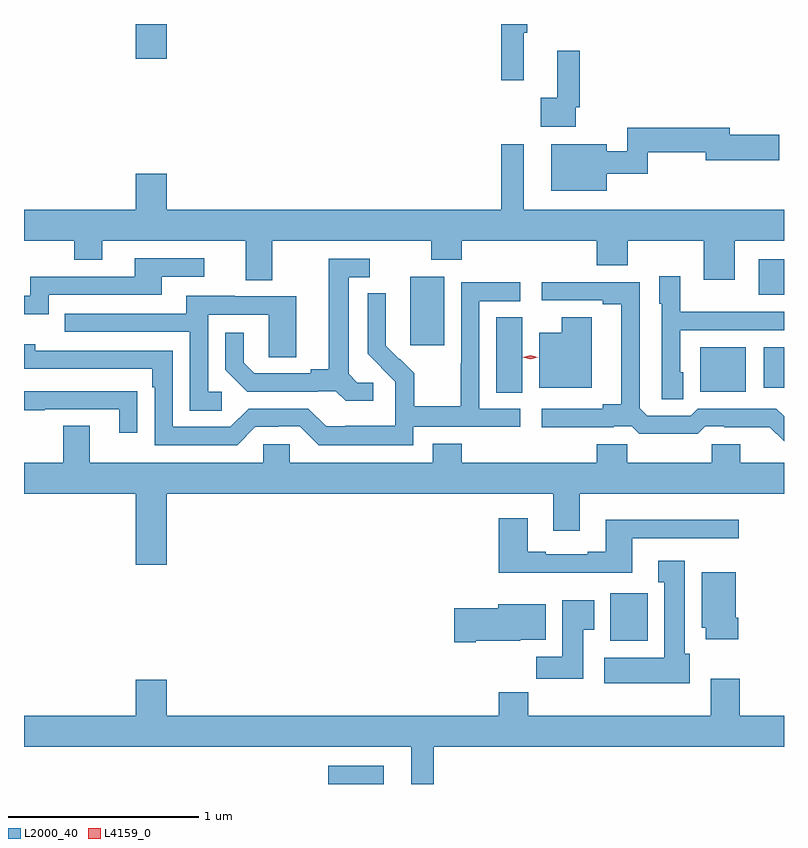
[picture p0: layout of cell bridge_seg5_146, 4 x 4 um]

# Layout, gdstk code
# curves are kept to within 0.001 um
import gdstk
lib = gdstk.Library(unit=1e-6, precision=1e-09)
def R(c, l, rs):  # rectangles x0, y0, x1, y1
    for r in rs: c.add(gdstk.rectangle(r[:2], r[2:], *l))
def P(c, l, *ps):  # polygons
    for p in ps: c.add(gdstk.Polygon(p, *l))
L2000_40 = (2000, 40)
L4159_0 = (4159, 0)

bridge_seg5_146 = lib.new_cell('bridge_seg5_146')
R(bridge_seg5_146, L2000_40, [(249.938,843.245,250.231,843.34), (251.423,843.998,251.619,844.249), (250.823,845.305,250.96,845.702), (251.897,845.309,252.136,845.545), (252.23,845.33,252.337,845.545), (250.37,845.553,250.549,845.914), (252.203,845.82,252.337,846.007), (248.924,847.062,249.088,847.245)])
P(bridge_seg5_146, L2000_40, [(250.967,847.2),(250.985,847.2),(250.985,847.245),(250.849,847.245),(250.849,846.948),(250.967,846.948)],
  [(251.241,846.808),(251.261,846.808),(251.261,847.105),(251.144,847.105),(251.144,846.857),(251.058,846.857),(251.058,846.704),(251.241,846.704)],
  [(251.404,846.458),(251.62,846.458),(251.62,846.57),(251.924,846.57),(251.924,846.527),(252.313,846.527),(252.313,846.662),(252.052,846.662),(252.052,846.698),(251.511,846.698),(251.511,846.575),(251.404,846.575),(251.404,846.613),(251.111,846.613),(251.111,846.368),(251.404,846.368)],
  [(249.643,846.104),(250.48,846.104),(250.48,846.005),(250.64,846.005),(250.64,846.104),(251.351,846.104),(251.351,845.976),(251.515,845.976),(251.515,846.104),(251.915,846.104),(251.915,845.898),(252.079,845.898),(252.079,846.104),(252.337,846.104),(252.337,846.268),(250.966,846.268),(250.966,846.613),(250.849,846.613),(250.849,846.268),(249.088,846.268),(249.088,846.457),(248.924,846.457),(248.924,846.268),(248.337,846.268),(248.337,846.104),(248.602,846.104),(248.602,846.005),(248.749,846.005),(248.749,846.104),(249.503,846.104),(249.503,845.896),(249.643,845.896)],
  [(248.466,845.82),(249.061,845.82),(249.061,845.916),(249.286,845.916),(249.286,846.012),(248.921,846.012),(248.921,845.916),(248.37,845.916),(248.37,845.814),(248.337,845.814),(248.337,845.717),(248.466,845.717)],
  [(250.174,845.358),(250.092,845.358),(250.045,845.405),(250.045,845.913),(250.156,845.913),(250.156,846.009),(249.941,846.009),(249.941,845.429),(249.845,845.429),(249.845,845.406),(249.55,845.406),(249.493,845.463),(249.493,845.62),(249.396,845.62),(249.396,845.426),(249.512,845.31),(249.884,845.31),(249.884,845.313),(249.978,845.313),(250.03,845.261),(250.174,845.261)],
  [(251.806,845.412),(251.79,845.412),(251.79,845.634),(252.337,845.634),(252.337,845.73),(252.107,845.73),(252.107,845.731),(251.79,845.731),(251.79,845.917),(251.681,845.917),(251.681,845.772),(251.694,845.772),(251.694,845.269),(251.806,845.269)],
  [(250.386,845.124),(250.948,845.124),(250.948,845.22),(250.734,845.22),(250.734,845.787),(250.948,845.787),(250.948,845.886),(250.638,845.886),(250.638,845.456),(250.636,845.456),(250.636,845.233),(250.391,845.233),(250.391,845.407),(250.314,845.484),(250.311,845.481),(250.241,845.552),(250.242,845.828),(250.146,845.828),(250.146,845.51),(250.292,845.362),(250.292,845.265),(250.29,845.265),(250.29,845.131),(250.027,845.131),(250.027,845.127),(249.927,845.127),(249.834,845.22),(249.519,845.22),(249.423,845.124),(249.12,845.124),(249.12,845.526),(248.396,845.526),(248.396,845.56),(248.337,845.56),(248.337,845.43),(249.011,845.43),(249.011,845.333),(249.024,845.333),(249.024,845.028),(249.459,845.028),(249.555,845.124),(249.674,845.124),(249.674,845.127),(249.789,845.127),(249.889,845.027),(250.386,845.027)],
  [(252.337,845.18),(252.297,845.22),(251.883,845.22),(251.847,845.184),(251.616,845.184),(251.577,845.223),(251.577,845.886),(251.061,845.886),(251.061,845.79),(251.384,845.79),(251.384,845.77),(251.48,845.77),(251.48,845.243),(251.384,845.243),(251.384,845.22),(251.061,845.22),(251.061,845.123),(251.441,845.123),(251.441,845.127),(251.535,845.127),(251.575,845.088),(251.883,845.088),(251.922,845.127),(252.022,845.127),(252.022,845.123),(252.263,845.123),(252.337,845.048)],
  [(249.379,845.31),(249.306,845.31),(249.306,845.715),(249.624,845.715),(249.624,845.491),(249.769,845.491),(249.769,845.811),(249.445,845.811),(249.445,845.815),(249.191,845.815),(249.191,845.721),(248.551,845.721),(248.551,845.625),(249.21,845.625),(249.21,845.209),(249.379,845.209)],
  [(251.326,845.701),(251.168,845.701),(251.168,845.62),(251.048,845.62),(251.048,845.33),(251.326,845.33)],
  [(248.933,845.312),(248.831,845.312),(248.831,845.313),(248.337,845.313),(248.337,845.212),(248.447,845.212),(248.447,845.217),(248.837,845.217),(248.837,845.094),(248.933,845.094)],
  [(249.088,844.772),(251.123,844.772),(251.123,844.578),(251.263,844.578),(251.263,844.772),(252.337,844.772),(252.337,844.936),(252.106,844.936),(252.106,845.034),(251.956,845.034),(251.956,844.936),(251.511,844.936),(251.511,845.034),(251.351,845.034),(251.351,844.936),(250.64,844.936),(250.64,845.035),(250.487,845.035),(250.487,844.936),(249.735,844.936),(249.735,845.034),(249.597,845.034),(249.597,844.936),(248.683,844.936),(248.683,845.131),(248.543,845.131),(248.543,844.936),(248.337,844.936),(248.337,844.772),(248.924,844.772),(248.924,844.398),(249.088,844.398)],
  [(251.539,844.539),(252.1,844.539),(252.1,844.636),(251.399,844.636),(251.399,844.468),(251.303,844.468),(251.303,844.455),(251.083,844.455),(251.083,844.468),(250.987,844.468),(250.987,844.645),(250.835,844.645),(250.835,844.358),(251.539,844.358)],
  [(251.842,843.93),(251.815,843.93),(251.815,844.42),(251.675,844.42),(251.675,844.307),(251.708,844.307),(251.708,843.91),(251.391,843.91),(251.391,843.776),(251.842,843.776)],
  [(252.095,844.12),(252.082,844.12),(252.082,844.36),(251.903,844.36),(251.903,844.068),(251.924,844.068),(251.924,844.008),(252.095,844.008)],
  [(251.281,844.057),(251.338,844.057),(251.338,844.213),(251.171,844.213),(251.171,843.916),(251.032,843.916),(251.032,843.798),(251.281,843.798)],
  [(250.714,843.998),(250.95,843.998),(250.95,844.004),(251.083,844.004),(251.083,844.192),(250.832,844.192),(250.832,844.169),(250.602,844.169),(250.602,843.991),(250.714,843.991)],
  [(250.493,843.44),(252.337,843.44),(252.337,843.604),(252.104,843.604),(252.104,843.799),(251.951,843.799),(251.951,843.604),(250.991,843.604),(250.991,843.728),(250.835,843.728),(250.835,843.604),(249.088,843.604),(249.088,843.793),(248.924,843.793),(248.924,843.604),(248.337,843.604),(248.337,843.44),(250.376,843.44),(250.376,843.245),(250.493,843.245)])
P(bridge_seg5_146, L4159_0, [(251.003,845.481),(250.963,845.491),(250.963,845.491),(250.963,845.491),(251.003,845.501),(251.042,845.491),(251.042,845.491),(251.042,845.491)])

lib.write_gds('bridge_seg5_146.gds')
